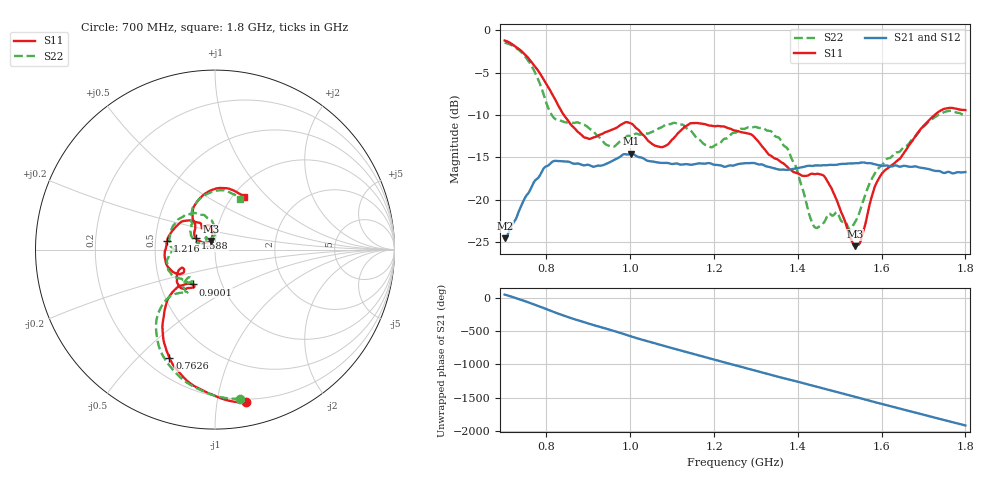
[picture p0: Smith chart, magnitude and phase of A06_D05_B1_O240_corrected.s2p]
! Created with skrf 1.9.0 (http://scikit-rf.org).
# Hz S RI R 50.0
!freq ReS11 ImS11 ReS21 ImS21 ReS12 ImS12 ReS22 ImS22
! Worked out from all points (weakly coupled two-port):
!   1601 points, 700 MHz to 1.8 GHz, reference 50 ohm
!   highest |S21| = -14.56 dB at 1.002 GHz (marker M1); lowest = -24.5 dB at 700.7 MHz (marker M2)
!   lowest |S11| = -25.5 dB at 1.537 GHz (marker M3), VSWR 1.11, Z = 47.5 + j4.58 ohm
!   |S11| at or under -10 dB: 841.2 MHz to 1.727 GHz (885.3 MHz wide, 69 % of centre)
!   |S22| runs from -23.5 to -1.5 dB; largest |S21 - S12| = 0.0035
!   S11 on the Smith chart (normalised r, x): 700 MHz: 0.17, -1.21; 762.6 MHz: 0.30, -0.62; 900.1 MHz: 0.73, -0.30; 1.216 GHz: 0.58, +0.06; 1.588 GHz: 0.80, +0.10; 1.8 GHz: 1.12, +0.75
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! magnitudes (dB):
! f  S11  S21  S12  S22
! 700 MHz  -1.2  -24.5  -24.3  -1.5
! 700.7 MHz  -1.2  -24.5  -24.2  -1.5
! 762.6 MHz  -3.7  -18.7  -18.6  -4.1
! 816.9 MHz  -7.8  -15.4  -15.5  -10.3
! 883.6 MHz  -12.4  -15.9  -15.8  -11.1
! 900.1 MHz  -12.8  -15.9  -15.9  -11.5
! 955.1 MHz  -11.8  -15.5  -15.5  -13.7
! 1.002 GHz  -11.0  -14.6  -14.7  -12.5
! 1.067 GHz  -13.7  -15.6  -15.6  -11.6
! 1.144 GHz  -11.0  -15.9  -15.9  -11.9
! 1.216 GHz  -11.4  -16.0  -16.0  -13.2
! 1.25 GHz  -11.8  -15.9  -15.8  -12.1
! 1.357 GHz  -15.4  -16.4  -16.4  -12.8
! 1.395 GHz  -16.8  -16.3  -16.3  -16.1
! 1.434 GHz  -16.9  -16.0  -16.0  -22.6
! 1.471 GHz  -17.9  -15.9  -15.9  -21.8
! 1.537 GHz  -25.5  -15.7  -15.7  -22.6
! 1.551 GHz  -24.6  -15.6  -15.6  -20.9
! 1.588 GHz  -18.0  -15.9  -15.9  -16.6
! 1.617 GHz  -16.2  -16.0  -16.0  -15.1
! 1.733 GHz  -9.8  -16.6  -16.6  -10.1
! 1.8 GHz  -9.4  -16.7  -16.7  -10.0
